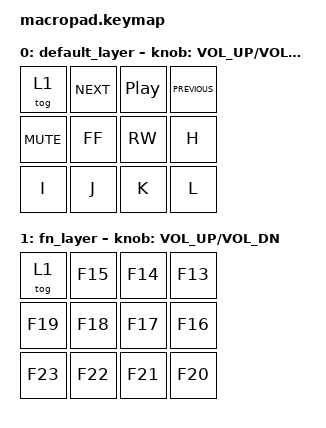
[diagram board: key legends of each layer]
#include <behaviors.dtsi>
#include <dt-bindings/zmk/keys.h>
#include <dt-bindings/zmk/bt.h>
#include <dt-bindings/zmk/outputs.h>


#define default_layer 0
#define fn_layer 1

&encoder0 {
    status = "okay";
};

&sensors {
    triggers-per-rotation = <20>;
};

/ {
    keymap {
        compatible = "zmk,keymap";

        default_layer {
            bindings = <
                &tog 1  &kp C_NEXT  &kp C_PLAY_PAUSE  &kp C_PREVIOUS
                &kp C_MUTE  &kp C_FF  &kp C_RW  &kp H
                &kp I  &kp J  &kp K  &kp L
            >;
            sensor-bindings = <&inc_dec_kp C_VOL_UP C_VOL_DN>;

        };
        
        fn_layer {
            bindings = <
                &tog 1  &kp F15  &kp F14  &kp F13
                &kp F19  &kp F18  &kp F17  &kp F16
                &kp F23  &kp F22  &kp F21  &kp F20    
            >;      
            sensor-bindings = <&inc_dec_kp C_VOL_UP C_VOL_DN>;   
        };

    };
    
};
